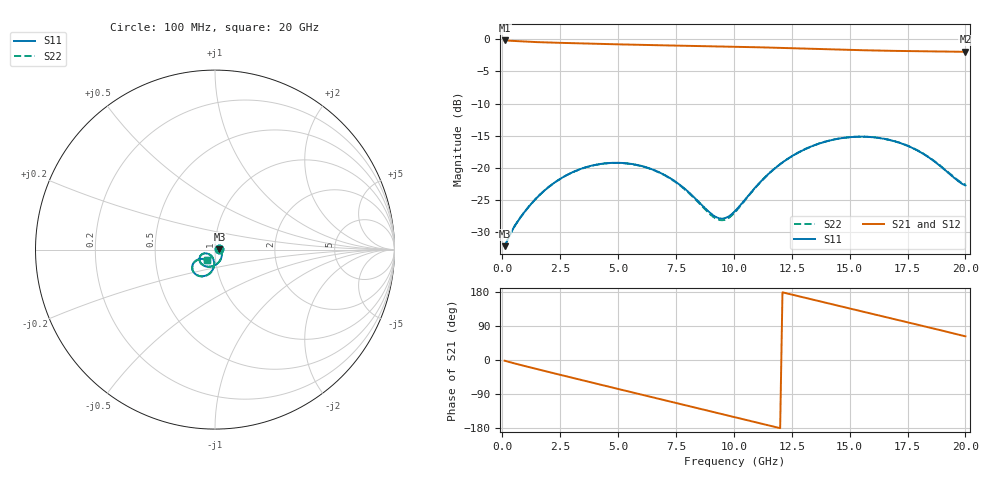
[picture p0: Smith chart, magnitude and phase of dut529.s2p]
! Touchstone file exported from HFSS 2026.1.0
!  File:  C:/ffzhzh/LocalFiles/Ansys_Project_Files/temp_train_TSV_RDL_529_1783111797_35180.aedt
!  Generated:  05:01:46 AM Jul  4, 2026
!  Design:  TSV_RDL
!  Project:  temp_train_TSV_RDL_529_1783111797_35180
! Variables:
!  h_bsmrdl = 4.39um
!  h_ox = 20um
!  h_rdl = 5um
!  h_sub = 78.61um
!  h_tmrdl = 2.51um
!  h_tsv = 78.61um
!  h_via = 3um
!  l_bsmrdl = 221.16um
!  l_sub = 4625.07um
!  l_tmrdl = 861.17um
!  m_sub = 200um
!  pitch = 29.21um
!  r_tsv = 6.89um
!  s_tmrdl = 10um
!  w_bsmrdl = 11.07um
!  w_sub = 500um
!  w_tmrdl = 27.9um
!  x_tsv_center1 = 875.12um
!  x_tsv_center2 = 1107.35um
!  x_tsv_center3 = 1996.42um
!  x_tsv_center4 = 2228.65um
!  x_tsv_center5 = 3117.72um
!  x_tsv_center6 = 3349.95um
# GHz S MA R 50.000000
! Terminal data exported
! Port[1] = TM_RDL1_1_T1
! Port[2] = TM_RDL5_1_T1
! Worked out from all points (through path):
!   200 points, 100 MHz to 20 GHz, reference 50 ohm
!   highest |S21| = -0.22 dB at 100 MHz (marker M1); lowest = -2.0 dB at 20 GHz (marker M2)
!   group delay of S21, straight-line fit = 41 ps
!   lowest |S11| = -32.1 dB at 100 MHz (marker M3), VSWR 1.05, Z = 52.5 + j0.103 ohm
!   |S11| at or under -10 dB: start of sweep to end of sweep
!   |S22| runs from -32.1 to -15.1 dB; largest |S21 - S12| = 4.2e-14
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0.1  0.02476 2.3  0.9753 -1.8  0.9753 -1.8  0.02476 2.3
! Gamma 0 0 0 0
! Port Impedance 50 0 50 0
0.7  0.03939 -19.9  0.9606 -11.7  0.9606 -11.7  0.03937 -19.9
1.6  0.06149 -57.9  0.9454 -25.5  0.9454 -25.5  0.06143 -57.9
2.5  0.08239 -84.7  0.9347 -39.1  0.9347 -39.1  0.08228 -84.7
3.5  0.09994 -106.9  0.9244 -54.1  0.9244 -54.1  0.09977 -107.0
4.4  0.1085 -123.2  0.9155 -67.5  0.9155 -67.5  0.1082 -123.4
5.2  0.1094 -135.7  0.9081 -79.3  0.9081 -79.3  0.1091 -135.9
6  0.1038 -146.4  0.9013 -91.1  0.9013 -91.1  0.1035 -146.7
6.8  0.09225 -155.0  0.895 -102.9  0.895 -102.9  0.09175 -155.4
8  0.06616 -160.6  0.8865 -120.6  0.8865 -120.6  0.0654 -161.1
9.3  0.04112 -136.6  0.8776 -139.9  0.8776 -139.9  0.03995 -136.5
9.7  0.04138 -120.5  0.8747 -145.8  0.8747 -145.8  0.04027 -119.7
10.1  0.04731 -106.7  0.8716 -151.7  0.8716 -151.7  0.04643 -105.5
10.9  0.06978 -94.2  0.8649 -163.6  0.8649 -163.6  0.06931 -93.2
11.7  0.09697 -94.2  0.8575 -175.5  0.8575 -175.5  0.09675 -93.3
12.5  0.1233 -99.2  0.8495 172.7  0.8495 172.7  0.1232 -98.5
13.4  0.1483 -107.3  0.84 159.4  0.84 159.4  0.1483 -106.7
15.1  0.1739 -124.6  0.8232 134.6  0.8232 134.6  0.1741 -124.1
16.7  0.1653 -140.2  0.8111 111.4  0.8111 111.4  0.1656 -139.7
17.6  0.146 -147.0  0.8063 98.2  0.8063 98.2  0.1464 -146.5
18.4  0.1215 -150.0  0.8029 86.4  0.8029 86.4  0.122 -149.4
20  0.07322 -128.8  0.7962 62.4  0.7962 62.4  0.07424 -128.5
